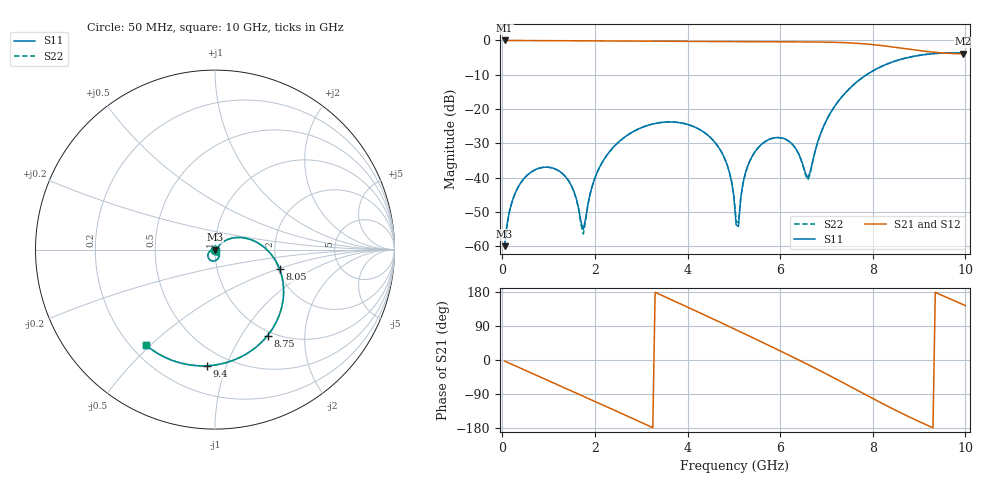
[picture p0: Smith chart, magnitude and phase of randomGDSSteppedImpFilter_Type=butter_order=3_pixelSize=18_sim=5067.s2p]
! freq	dB(S11)	phase(S11)	dB(S12)	phase(S12)
!  dB(S21)	phase(S21)	dB(S22)	phase(S22)
!S-par simulation data
#  GHz  S  DB  R 50
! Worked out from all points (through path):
!   200 points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, 50 MHz to 10 GHz, reference 50 ohm
!   highest |S21| = -0.01 dB at 50 MHz (marker M1); lowest = -3.9 dB at 9.95 GHz (marker M2)
!   group delay of S21, straight-line fit = 162 ps
!   lowest |S11| = -60.0 dB at 50 MHz (marker M3), VSWR 1.00, Z = 50 - j0.1 ohm
!   |S11| at or under -10 dB: start of sweep to 7.866 GHz
!   |S22| runs from -60.0 to -3.6 dB; largest |S21 - S12| = 0
!   S11 on the Smith chart (normalised r, x): 50 MHz: 1.00, -0.00; 8.05 GHz: 2.04, -0.51; 8.75 GHz: 0.94, -1.31; 9.4 GHz: 0.38, -0.85; 10 GHz: 0.26, -0.49
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0.05  -59.98 -85.6  -0.01 -2.8  -0.01 -2.8  -59.97 -85.6
0.3  -43.89 -102.0  -0.03 -16.5  -0.03 -16.5  -43.88 -101.9
0.85  -37.06 -137.3  -0.05 -46.5  -0.05 -46.5  -37.06 -137.0
1.45  -41.29 -178.0  -0.09 -79.2  -0.09 -79.2  -41.32 -176.6
1.75  -55.07 81.1  -0.11 -95.7  -0.11 -95.7  -56.43 80.8
2.25  -33.61 -27.6  -0.15 -123.2  -0.15 -123.2  -33.62 -28.6
3.4  -23.96 -94.4  -0.25 173.1  -0.25 173.1  -23.96 -94.7
4.65  -30.76 -162.6  -0.32 102.6  -0.32 102.6  -30.75 -162.2
4.95  -41.11 -175.0  -0.33 85.4  -0.33 85.4  -41.02 -172.5
5.05  -53.76 -158.4  -0.34 79.6  -0.34 79.6  -52.64 -149.0
5.25  -38.67 -22.4  -0.35 68.1  -0.35 68.1  -38.67 -25.1
5.6  -30.26 -38.5  -0.37 47.6  -0.37 47.6  -30.28 -39.8
6.2  -29.48 -66.3  -0.41 12.2  -0.41 12.2  -29.52 -67.6
6.6  -39.99 -13.0  -0.44 -12.0  -0.44 -12.0  -40.69 -13.2
6.7  -35.32 32.9  -0.44 -18.2  -0.44 -18.2  -35.56 34.9
7.15  -19.75 36.1  -0.53 -46.4  -0.53 -46.4  -19.76 36.4
8.05  -8.51 -16.6  -1.29 -104.8  -1.29 -104.8  -8.51 -16.7
8.35  -6.65 -35.0  -1.77 -123.8  -1.77 -123.8  -6.65 -35.0
8.75  -5.02 -58.5  -2.49 -148.0  -2.49 -148.0  -5.02 -58.6
9.4  -3.75 -94.1  -3.53 175.7  -3.53 175.7  -3.76 -94.2
9.95  -3.63 -123.0  -3.89 146.3  -3.89 146.3  -3.63 -123.1
10  -3.66 -125.7  -3.89 143.5  -3.89 143.5  -3.66 -125.8
